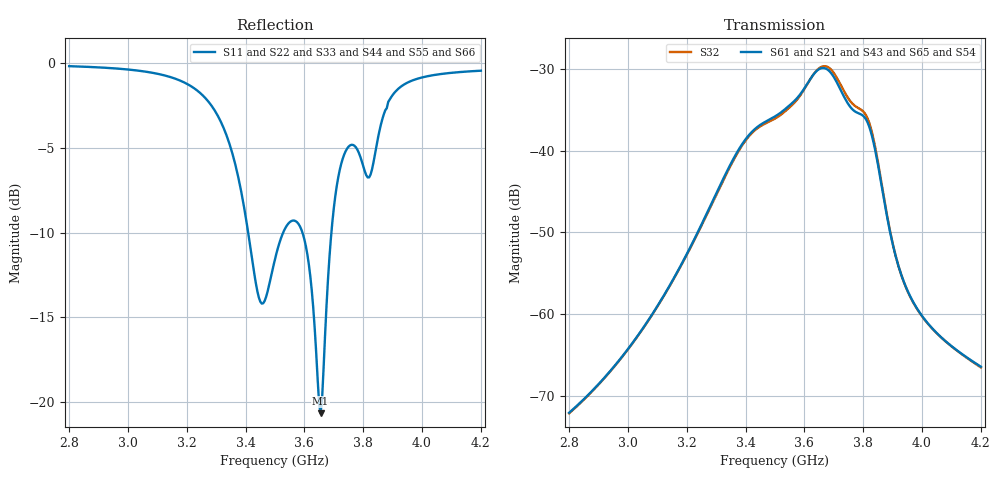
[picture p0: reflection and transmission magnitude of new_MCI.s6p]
! Touchstone file exported from HFSS 2024.2.0
!  File:  D:/Jatin/new.aedt
!  Generated:  04:49:41 PM Sep 30, 2026
!  Design:  MCI
!  Project:  new
!  Setup:  Setup1
!  Solution:  Sweep
! Variables:
!  $L = 85mm
!  $W = 35mm
!  H = 1.575mm
!  L = 42mm
!  W = 35mm
!  Wb = 6mm
!  a = 3.5mm
!  ant_dist = 115mm
!  ant_gap = 3mm
!  b = 5mm
!  c = 5mm
!  d = 2mm
!  g1 = 2mm
!  g2 = 2mm
!  g3 = 1mm
!  g4 = 2mm
!  gap = 10mm
!  r1 = 3.5mm
!  r2 = 6mm
!  r_brain = 95mm
!  r_brain_ad = 61.68mm
!  r_csf = 95.5mm
!  r_csf_expanded = 64.6mm
!  r_csf_inner = 61.68mm
!  r_csf_outer = 83.5mm
!  r_fat = 87.5mm
!  r_gray = 70.55mm
!  r_gray_healthy = 83mm
!  r_grey_healthy = 83mm
!  r_hippo_healthy = 25mm
!  r_hippo_mci = 21.25mm
!  r_skin = 88mm
!  r_skull = 86.5mm
!  r_white = 17.5mm
!  r_white_healthy = 76mm
!  slot_distance = 15mm
!  wc = 12mm
!  y1 = 15mm
!  y2 = 5mm
!  y4 = 11mm
!  z_ebg = -94.575mm
! Terminal data exported
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# GHz S MA R 50.000000
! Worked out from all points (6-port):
!   281 points, 2.8 GHz to 4.2 GHz, reference 50 ohm
!   strongest paths, dB at 2.8 GHz, 3.15 GHz, 3.5 GHz, 3.85 GHz, 4.2 GHz:
!     S61: -72.1, -56.0, -35.8, -41.7, -66.4
!     S21: -72.2, -56.1, -35.8, -41.5, -66.4
!     S32: -72.1, -56.1, -36.1, -41.4, -66.5
!     S43: -72.1, -56.1, -35.9, -41.5, -66.5
!     S65: -72.1, -56.1, -35.9, -41.9, -66.6
!     S54: -72.2, -56.2, -35.9, -41.6, -66.5
!   lowest |S11| = -20.7 dB at 3.655 GHz (marker M1), VSWR 1.20, Z = 43.7 - j6.05 ohm
!   |S11| at or under -10 dB: 3.409 GHz to 3.528 GHz (118.7 MHz wide, 3.42 % of centre); 3.593 GHz to 3.692 GHz (98.34 MHz wide, 2.7 % of centre)
